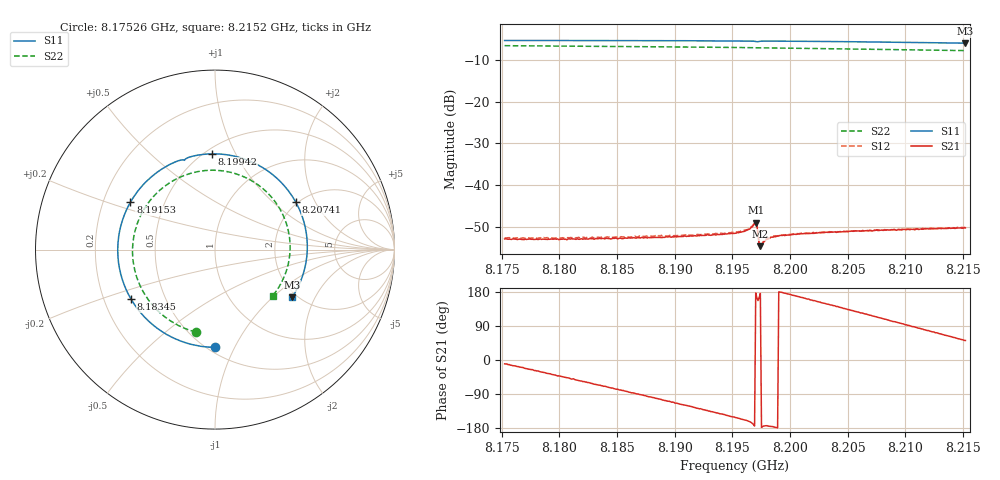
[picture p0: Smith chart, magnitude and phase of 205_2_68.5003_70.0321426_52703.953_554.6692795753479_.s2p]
#  HZ  S  RI  R  50.00
! Rohde & Schwarz Vector Network Analyzer
! Rohde-Schwarz,ZNB20-2Port,1311601062101988,3.16
! Created: UTC 3/20/2024, 4:57:47 PM
! freq[Hz]  re:S11  im:S11  re:S21  im:S21  re:S12  im:S12  re:S22  im:S22
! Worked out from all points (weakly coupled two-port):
!   401 points, 8.17526 GHz to 8.2152 GHz, reference 50 ohm
!   highest |S21| = -48.97 dB at 8.19702 GHz (marker M1); lowest = -54.6 dB at 8.19742 GHz (marker M2)
!   lowest |S11| = -5.9 dB at 8.2152 GHz (marker M3), VSWR 3.04, Z = 93.9 - j67.1 ohm
!   |S11| at or under -10 dB: nowhere
!   |S22| runs from -7.7 to -6.5 dB; largest |S21 - S12| = 0.00018
!   S11 on the Smith chart (normalised r, x): 8.17526 GHz: 0.54, -0.84; 8.18345 GHz: 0.32, -0.25; 8.19153 GHz: 0.32, +0.24; 8.19942 GHz: 0.54, +0.81; 8.20741 GHz: 1.95, +1.42; 8.2152 GHz: 1.88, -1.34
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8.175258e9  0.00144 -0.5445  0.00223 -0.0004  0.00229 -0.000364  -0.1058 -0.4596
8.178553e9  -0.2186 -0.4982  0.0019 -0.0012  0.00196 -0.00125  -0.273 -0.3797
8.181948e9  -0.4067 -0.3606  0.00128 -0.00188  0.00128 -0.00195  -0.398 -0.2384
8.183446e9  -0.4675 -0.2766  0.00092 -0.00211  0.000922 -0.00216  -0.433 -0.1627
8.186041e9  -0.5314 -0.1085  0.00021 -0.00233  0.000212 -0.00236  -0.4594 -0.0215
8.188637e9  -0.5367 0.0722  -0.000524 -0.0023  -0.000615 -0.00241  -0.4408 0.1208
8.191533e9  -0.4717 0.2632  -0.00135 -0.00204  -0.00147 -0.00205  -0.3691 0.264
8.195227e9  -0.2944 0.4499  -0.00233 -0.00127  -0.00246 -0.00124  -0.2126 0.3951
8.196325e9  -0.2254 0.4868  -0.00274 -0.000968  -0.00281 -0.000843  -0.1556 0.4188
8.196924e9  -0.1822 0.5001  -0.00344 -0.000349  -0.00352 -0.000208  -0.1234 0.4284
8.197024e9  -0.175 0.4996  -0.00356 0.000186  -0.00364 0.000348  -0.1181 0.4297
8.197424e9  -0.159 0.5086  -0.00185 0.000139  -0.00188 0.000194  -0.0963 0.4345
8.197523e9  -0.1517 0.512  -0.0019 -6.62e-05  -0.00195 3.67e-05  -0.0906 0.4356
8.197923e9  -0.1231 0.5207  -0.00221 -0.000256  -0.00225 -0.000159  -0.0684 0.4389
8.198422e9  -0.0877 0.5275  -0.00237 -0.000181  -0.00239 -5.36e-05  -0.0403 0.4415
8.19942e9  -0.0169 0.5336  -0.00251 0.000118  -0.0025 0.000239  0.0164 0.4412
8.201917e9  0.1569 0.5071  -0.00245 0.000993  -0.00244 0.00111  0.1543 0.4085
8.204612e9  0.3234 0.4159  -0.00199 0.00191  -0.00196 0.002  0.2841 0.3243
8.207408e9  0.45 0.2644  -0.00118 0.00262  -0.00112 0.00265  0.3794 0.1916
8.208606e9  0.4851 0.1866  -0.000716 0.00281  -0.000659 0.00284  0.4039 0.1245
8.211801e9  0.5115 -0.0386  0.0006 0.00293  0.000655 0.00294  0.4109 -0.0677
8.215196e9  0.4293 -0.266  0.00191 0.0024  0.00202 0.00238  0.3215 -0.2571
